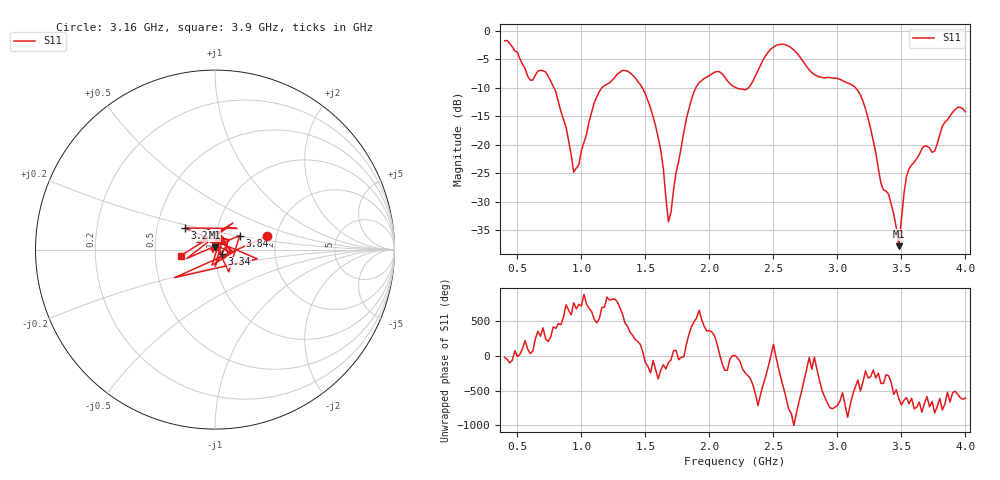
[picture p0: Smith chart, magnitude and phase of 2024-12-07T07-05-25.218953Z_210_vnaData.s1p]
!Created with skrf (http://scikit-rf.org).
# Hz S RI R 50.0
!freq ReS11 ImS11
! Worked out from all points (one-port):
!   181 points, 400 MHz to 4 GHz, reference 50 ohm
!   lowest |S11| = -37.8 dB at 3.48 GHz (marker M1), VSWR 1.03, Z = 49.7 + j1.25 ohm
!   |S11| at or under -10 dB: 786.1 MHz to 1.159 GHz (372.8 MHz wide, 38.3 % of centre); 1.477 GHz to 1.894 GHz (417.4 MHz wide, 24.8 % of centre); 3.142 GHz to end of sweep (the widest 3 of 4)
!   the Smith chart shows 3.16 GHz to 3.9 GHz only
!   S11 on the Smith chart (normalised r, x): 3.16 GHz: 1.79, +0.29; 3.22 GHz: 0.70, +0.17; 3.34 GHz: 1.08, -0.06; 3.84 GHz: 1.30, +0.21; 3.9 GHz: 0.68, -0.05
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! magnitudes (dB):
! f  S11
! 400 MHz  -1.7
! 600 MHz  -8.6
! 720 MHz  -7.2
! 860 MHz  -15.5
! 940 MHz  -24.8
! 1.14 GHz  -10.6
! 1.3 GHz  -7.3
! 1.54 GHz  -13.5
! 1.62 GHz  -20.9
! 1.68 GHz  -33.5
! 1.76 GHz  -22.9
! 1.92 GHz  -9.1
! 2.2 GHz  -9.9
! 2.3 GHz  -10.1
! 2.5 GHz  -2.8
! 2.66 GHz  -3.4
! 3.1 GHz  -9.3
! 3.16 GHz  -10.5
! 3.22 GHz  -13.7
! 3.34 GHz  -26.7
! 3.4 GHz  -28.7
! 3.48 GHz  -37.8
! 3.52 GHz  -28.5
! 3.56 GHz  -24.2
! 3.76 GHz  -21.1
! 3.84 GHz  -16.0
! 3.9 GHz  -14.3
! 4 GHz  -14.2
